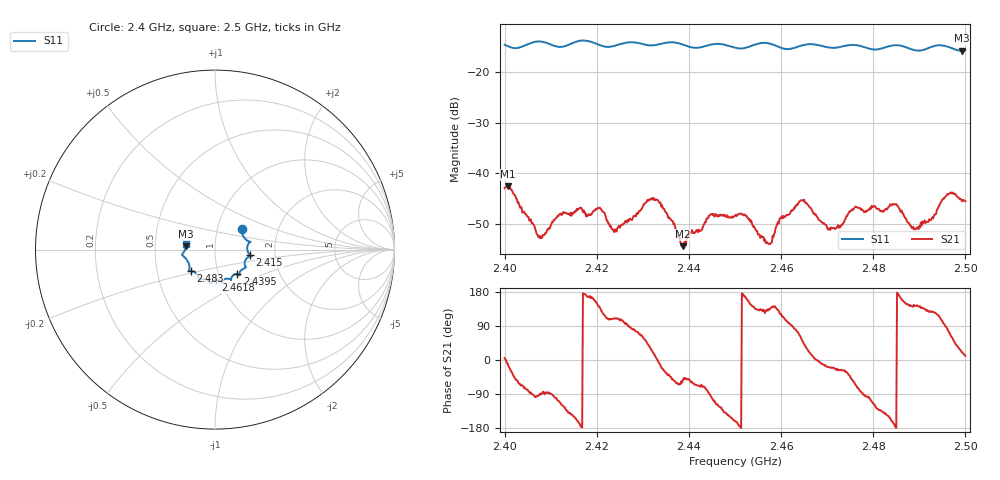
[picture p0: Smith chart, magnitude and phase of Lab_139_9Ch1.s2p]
# Hz S RI R 50
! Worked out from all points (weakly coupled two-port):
!   601 points, 2.4 GHz to 2.5 GHz, reference 50 ohm
!   highest |S21| = -42.57 dB at 2.4007 GHz (marker M1); lowest = -54.4 dB at 2.4387 GHz (marker M2)
!   lowest |S11| = -15.7 dB at 2.4992 GHz (marker M3), VSWR 1.39, Z = 36 + j1.31 ohm
!   |S11| at or under -10 dB: start of sweep to end of sweep
!   S12 and S22 are empty: the file has one direction only
!   S11 on the Smith chart (normalised r, x): 2.4 GHz: 1.31, +0.31; 2.415 GHz: 1.48, -0.10; 2.4395 GHz: 1.23, -0.34; 2.4618 GHz: 0.95, -0.33; 2.483 GHz: 0.74, -0.18; 2.5 GHz: 0.72, +0.05
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2.4e9  0.1498 0.1137  0.00712 0.000632  0 0  0 0
2.400667e9  0.1499 0.1042  0.00732 -0.00135  0 0  0 0
2.407667e9  0.198 0.044  4.81e-05 -0.00229  0 0  0 0
2.415e9  0.1951 -0.0318  -0.00348 -0.00207  0 0  0 0
2.416667e9  0.2035 -0.0378  -0.00454 -0.000271  0 0  0 0
2.420833e9  0.1794 -0.046  -0.00312 0.0032  0 0  0 0
2.423833e9  0.165 -0.0802  -0.000905 0.00245  0 0  0 0
2.433333e9  0.1363 -0.1316  0.00536 -0.000394  0 0  0 0
2.438667e9  0.1302 -0.137  0.00113 -0.00153  0 0  0 0
2.4395e9  0.1238 -0.1353  0.00151 -0.00175  0 0  0 0
2.444833e9  0.0889 -0.1668  -0.000467 -0.00393  0 0  0 0
2.45e9  0.0696 -0.1618  -0.00363 -0.00127  0 0  0 0
2.457167e9  0.0442 -0.19  -0.00132 0.00154  0 0  0 0
2.461833e9  0.00433 -0.1709  -0.000383 0.00393  0 0  0 0
2.466667e9  -0.0263 -0.1889  0.00424 0.000971  0 0  0 0
2.470667e9  -0.0458 -0.1699  0.00259 -0.000928  0 0  0 0
2.483e9  -0.1356 -0.1181  -0.00365 -0.00247  0 0  0 0
2.483333e9  -0.1383 -0.118  -0.00395 -0.00246  0 0  0 0
2.489333e9  -0.1458 -0.0777  -0.00227 0.00172  0 0  0 0
2.496333e9  -0.1779 -0.0201  0.00144 0.00604  0 0  0 0
2.499167e9  -0.163 0.0177  0.00506 0.00196  0 0  0 0
2.5e9  -0.1632 0.0328  0.00522 0.000981  0 0  0 0
